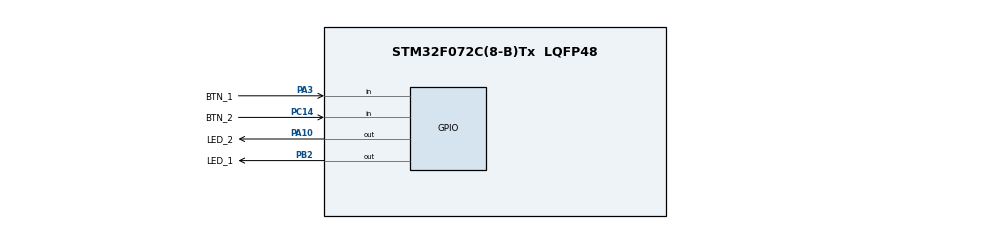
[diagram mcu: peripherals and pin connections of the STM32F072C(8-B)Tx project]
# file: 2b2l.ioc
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Mcu.Family=STM32F0
PA10.GPIO_Label=LED_2
Mcu.Name=STM32F072C(8-B)Tx
PC14-OSC32_IN.Signal=GPIO_Input
Mcu.Package=LQFP48
ProjectManager.StackSize=0x400
PA10.Signal=GPIO_Output
PB2.GPIO_Label=LED_1
ProjectManager.HeapSize=0x200
ProjectManager.TargetToolchain=STM32CubeIDE
PC14-OSC32_IN.GPIO_Label=BTN_2
PA3.GPIO_Label=BTN_1
PA3.Signal=GPIO_Input
PB2.Signal=GPIO_Output
board=custom

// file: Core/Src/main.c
/* USER CODE BEGIN Header */
/**
  ******************************************************************************
  * @file           : main.c
  * @brief          : Main program body
  ******************************************************************************
  * @attention
  *
  * <h2><center>&copy; Copyright (c) 2021 STMicroelectronics.
  * All rights reserved.</center></h2>
  *
  * This software component is licensed by ST under BSD 3-Clause license,
  * the "License"; You may not use this file except in compliance with the
  * License. You may obtain a copy of the License at:
  *                        opensource.org/licenses/BSD-3-Clause
  *
  ******************************************************************************
  */
/* USER CODE END Header */
#include "main.h"

/* USER CODE BEGIN PV */
int a =0;/*Вспомогательная переменная для первой кнопки*/
int b =0;/*Вспомогательная переменная для второй кнопки*/
/* USER CODE END PV */

void SystemClock_Config(void);
static void MX_GPIO_Init(void);

int main(void)
{

  /* MCU Configuration--------------------------------------------------------*/

  /* Reset of all peripherals, Initializes the Flash interface and the Systick. */
  HAL_Init();

  /* Configure the system clock */
  SystemClock_Config();

  /* Initialize all configured peripherals */
  MX_GPIO_Init();

  /* Infinite loop */
  /* USER CODE BEGIN WHILE */
  while (1)
  {

	  a = HAL_GPIO_ReadPin(BTN_1_GPIO_Port, BTN_1_Pin);/*Записываем в a состояние первой кнопки*/
	  b = HAL_GPIO_ReadPin(BTN_2_GPIO_Port, BTN_2_Pin);/*Записываем в b состояние второй кнопки*/
	  HAL_Delay(100);/*Временная задержка для исключения ложного срабатывания условий при нажатии двух кнопок вместе*/
	  if (a==1 && b==0) {/*Если кнопка 1 зажата, а кнопка 2 нет, то*/
		  HAL_GPIO_WritePin(LED_1_GPIO_Port, LED_1_Pin, GPIO_PIN_SET);/*Включаем светодиод 1*/
	  }
	  else if ((a==0 && b==1)) {/*Если кнопка 2 зажата, а кнопка 1 нет, то*/
		  HAL_GPIO_WritePin(LED_2_GPIO_Port, LED_2_Pin, GPIO_PIN_SET);/*Включаем светодиод 2*/
	  }
	  else if ((a==1 && b==1)) {/*Если кнопка 1 и кнопка 2 зажаты, то*/
		  HAL_GPIO_TogglePin(LED_1_GPIO_Port, LED_1_Pin);/*Начинаем моргать светодиодом 1*/
		  HAL_GPIO_WritePin(LED_2_GPIO_Port, LED_2_Pin, GPIO_PIN_RESET);/*и принудительно выключаем светодиод 2*/
		  HAL_Delay(500);/*задаём частоту моргания светодиода 1*/
	  }
	  else {/*Если кнопка 1 и кнопка 2 не зажаты, то*/
		  HAL_GPIO_WritePin(LED_1_GPIO_Port, LED_1_Pin, GPIO_PIN_RESET);/*Принудительно выключаем светодиод 1*/
		  HAL_GPIO_WritePin(LED_2_GPIO_Port, LED_2_Pin, GPIO_PIN_RESET);/*Принудительно выключаем светодиод 2*/
	  }

    /* USER CODE END WHILE */

  }
}

void SystemClock_Config(void)
{
  RCC_OscInitTypeDef RCC_OscInitStruct = {0};
  RCC_ClkInitTypeDef RCC_ClkInitStruct = {0};

  /** Initializes the RCC Oscillators according to the specified parameters
  * in the RCC_OscInitTypeDef structure.
  */
  RCC_OscInitStruct.OscillatorType = RCC_OSCILLATORTYPE_HSI;
  RCC_OscInitStruct.HSIState = RCC_HSI_ON;
  RCC_OscInitStruct.HSICalibrationValue = RCC_HSICALIBRATION_DEFAULT;
  RCC_OscInitStruct.PLL.PLLState = RCC_PLL_NONE;
  if (HAL_RCC_OscConfig(&RCC_OscInitStruct) != HAL_OK)
  {
    Error_Handler();
  }
  /** Initializes the CPU, AHB and APB buses clocks
  */
  RCC_ClkInitStruct.ClockType = RCC_CLOCKTYPE_HCLK|RCC_CLOCKTYPE_SYSCLK
                              |RCC_CLOCKTYPE_PCLK1;
  RCC_ClkInitStruct.SYSCLKSource = RCC_SYSCLKSOURCE_HSI;
  RCC_ClkInitStruct.AHBCLKDivider = RCC_SYSCLK_DIV1;
  RCC_ClkInitStruct.APB1CLKDivider = RCC_HCLK_DIV1;

  if (HAL_RCC_ClockConfig(&RCC_ClkInitStruct, FLASH_LATENCY_0) != HAL_OK)
  {
    Error_Handler();
  }
}

static void MX_GPIO_Init(void)
{
  GPIO_InitTypeDef GPIO_InitStruct = {0};

  /* GPIO Ports Clock Enable */
  __HAL_RCC_GPIOC_CLK_ENABLE();
  __HAL_RCC_GPIOA_CLK_ENABLE();
  __HAL_RCC_GPIOB_CLK_ENABLE();

  /*Configure GPIO pin Output Level */
  HAL_GPIO_WritePin(LED_1_GPIO_Port, LED_1_Pin, GPIO_PIN_RESET);

  /*Configure GPIO pin Output Level */
  HAL_GPIO_WritePin(LED_2_GPIO_Port, LED_2_Pin, GPIO_PIN_RESET);

  /*Configure GPIO pin : BTN_2_Pin */
  GPIO_InitStruct.Pin = BTN_2_Pin;
  GPIO_InitStruct.Mode = GPIO_MODE_INPUT;
  GPIO_InitStruct.Pull = GPIO_NOPULL;
  HAL_GPIO_Init(BTN_2_GPIO_Port, &GPIO_InitStruct);

  /*Configure GPIO pin : BTN_1_Pin */
  GPIO_InitStruct.Pin = BTN_1_Pin;
  GPIO_InitStruct.Mode = GPIO_MODE_INPUT;
  GPIO_InitStruct.Pull = GPIO_NOPULL;
  HAL_GPIO_Init(BTN_1_GPIO_Port, &GPIO_InitStruct);

  /*Configure GPIO pin : LED_1_Pin */
  GPIO_InitStruct.Pin = LED_1_Pin;
  GPIO_InitStruct.Mode = GPIO_MODE_OUTPUT_PP;
  GPIO_InitStruct.Pull = GPIO_NOPULL;
  GPIO_InitStruct.Speed = GPIO_SPEED_FREQ_LOW;
  HAL_GPIO_Init(LED_1_GPIO_Port, &GPIO_InitStruct);

  /*Configure GPIO pin : LED_2_Pin */
  GPIO_InitStruct.Pin = LED_2_Pin;
  GPIO_InitStruct.Mode = GPIO_MODE_OUTPUT_PP;
  GPIO_InitStruct.Pull = GPIO_NOPULL;
  GPIO_InitStruct.Speed = GPIO_SPEED_FREQ_LOW;
  HAL_GPIO_Init(LED_2_GPIO_Port, &GPIO_InitStruct);

}

void Error_Handler(void)
{
  __disable_irq();
  while (1)
  {
  }
}

/************************ (C) COPYRIGHT STMicroelectronics *****END OF FILE****/
